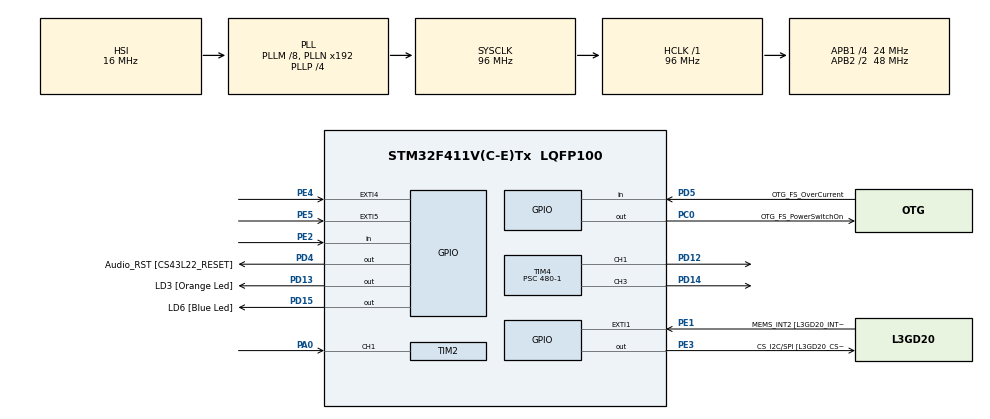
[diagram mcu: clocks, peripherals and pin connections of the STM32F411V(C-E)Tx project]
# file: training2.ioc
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Mcu.Family=STM32F4
Mcu.Name=STM32F411V(C-E)Tx
Mcu.Package=LQFP100
NVIC.PriorityGroup=NVIC_PRIORITYGROUP_0
NVIC.TIM2_IRQn=true\:0\:0\:false\:false\:true\:true\:true\:true
NVIC.TIM4_IRQn=true\:0\:0\:false\:false\:true\:true\:true\:true
PA0-WKUP.Signal=S_TIM2_CH1_ETR
PA10.GPIO_Label=OTG_FS_ID
PA10.Signal=USB_OTG_FS_ID
PA11.GPIO_Label=OTG_FS_DM
PA11.Signal=USB_OTG_FS_DM
PA12.GPIO_Label=OTG_FS_DP
PA12.Signal=USB_OTG_FS_DP
PA13.GPIO_Label=SWDIO
PA13.Signal=SYS_JTMS-SWDIO
PA14.GPIO_Label=SWCLK
PA14.Signal=SYS_JTCK-SWCLK
PA4.GPIO_Label=I2S3_WS [CS43L22_LRCK]
PA4.GPIO_Mode=GPIO_MODE_AF_PP
PA4.GPIO_PuPd=GPIO_NOPULL
PA4.GPIO_Speed=GPIO_SPEED_FREQ_LOW
PA4.Signal=I2S3_WS
PA5.GPIO_Label=SPI1_SCK [L3GD20_SC/SPC]
PA5.Signal=SPI1_SCK
PA6.GPIO_Label=SPI1_MISO [L3GD20_AS0/SDO]
PA6.Signal=SPI1_MISO
PA7.GPIO_Label=SPI1_MOSI [L3GD20_SDA/SDI/SDO]
PA7.Signal=SPI1_MOSI
PA9.GPIO_Label=VBUS_FS
PA9.Signal=USB_OTG_FS_VBUS
PB10.GPIO_Label=CLK_IN [MP45DT02_CLK]
PB10.Signal=I2S2_CK
PB12.Signal=I2S2_WS
PB3.GPIO_Label=SWO
PB3.Signal=SYS_JTDO-SWO
PB6.GPIO_Label=Audio_SCL [CS43L22_SCL]
PB6.GPIO_Mode=GPIO_MODE_AF_OD
PB6.GPIO_PuPd=GPIO_NOPULL
PB6.GPIO_Speed=GPIO_SPEED_FREQ_LOW
PB6.Signal=I2C1_SCL
PB9.GPIO_Label=Audio_SDA [CS43L22_SDA]
PB9.GPIO_Mode=GPIO_MODE_AF_OD
PB9.GPIO_PuPd=GPIO_NOPULL
PB9.GPIO_Speed=GPIO_SPEED_FREQ_LOW
PB9.Signal=I2C1_SDA
PC0.GPIO_Label=OTG_FS_PowerSwitchOn
PC0.PinState=GPIO_PIN_SET
PC0.Signal=GPIO_Output
PC10.GPIO_Label=I2S3_SCK [CS43L22_SCLK]
PC10.GPIO_Mode=GPIO_MODE_AF_PP
PC10.GPIO_PuPd=GPIO_NOPULL
PC10.GPIO_Speed=GPIO_SPEED_FREQ_LOW
PC10.Signal=I2S3_CK
PC12.GPIO_Label=I2S3_SD [CS43L22_SDIN]
PC12.GPIO_Mode=GPIO_MODE_AF_PP
PC12.GPIO_PuPd=GPIO_NOPULL
PC12.GPIO_Speed=GPIO_SPEED_FREQ_LOW
PC12.Signal=I2S3_SD
PC14-OSC32_IN.GPIO_Label=PC14-OSC32_IN
PC14-OSC32_IN.Signal=RCC_OSC32_IN
PC15-OSC32_OUT.GPIO_Label=PC15-OSC32_OUT
PC15-OSC32_OUT.Signal=RCC_OSC32_OUT
PC3.GPIO_Label=PDM_OUT [MP45DT02_DOUT]
PC3.Signal=I2S2_SD
PC7.GPIO_Label=I2S3_MCK [CS43L22_MCLK]
PC7.GPIO_Mode=GPIO_MODE_AF_PP
PC7.GPIO_PuPd=GPIO_NOPULL
PC7.GPIO_Speed=GPIO_SPEED_FREQ_LOW
PC7.Signal=I2S3_MCK
PD12.Signal=S_TIM4_CH1
PD13.GPIO_Label=LD3 [Orange Led]
PD13.GPIO_PuPd=GPIO_NOPULL
PD13.GPIO_Speed=GPIO_SPEED_FREQ_LOW
PD13.Signal=GPIO_Output
PD14.Signal=S_TIM4_CH3
PD15.GPIO_Label=LD6 [Blue Led]
PD15.GPIO_PuPd=GPIO_NOPULL
PD15.GPIO_Speed=GPIO_SPEED_FREQ_LOW
PD15.Signal=GPIO_Output
PD4.GPIO_Label=Audio_RST [CS43L22_RESET]
PD4.Signal=GPIO_Output
PD5.GPIO_Label=OTG_FS_OverCurrent
PD5.Signal=GPIO_Input
PE1.GPIO_Label=MEMS_INT2 [L3GD20_INT2]
PE1.GPIO_ModeDefaultEXTI=GPIO_MODE_EVT_RISING
PE1.Signal=GPXTI1
PE2.Signal=GPIO_Input
PE3.GPIO_Label=CS_I2C/SPI [L3GD20_CS_I2C/SPI]
PE3.Signal=GPIO_Output
PE4.GPIO_ModeDefaultEXTI=GPIO_MODE_EVT_RISING
PE4.Signal=GPXTI4
PE5.GPIO_ModeDefaultEXTI=GPIO_MODE_EVT_RISING
PE5.Signal=GPXTI5
PH0\ -\ OSC_IN.GPIO_Label=PH0-OSC_IN
PH0\ -\ OSC_IN.Signal=RCC_OSC_IN
PH1\ -\ OSC_OUT.GPIO_Label=PH1-OSC_OUT
PH1\ -\ OSC_OUT.Signal=RCC_OSC_OUT
ProjectManager.HeapSize=0x200
ProjectManager.StackSize=0x400
ProjectManager.TargetToolchain=STM32CubeIDE
RCC.48MHZClocksFreq_Value=48000000
RCC.AHBFreq_Value=96000000
RCC.APB1CLKDivider=RCC_HCLK_DIV4
RCC.APB1Freq_Value=24000000
RCC.APB1TimFreq_Value=48000000
RCC.APB2CLKDivider=RCC_HCLK_DIV2
RCC.APB2Freq_Value=48000000
RCC.APB2TimFreq_Value=96000000
RCC.CortexFreq_Value=96000000
RCC.HCLKFreq_Value=96000000
RCC.HSE_VALUE=8000000
RCC.HSI_VALUE=16000000
RCC.LSE_VALUE=32768
RCC.PLLI2SM=5
RCC.PLLI2SN=200
RCC.PLLM=8
RCC.PLLP=RCC_PLLP_DIV4
RCC.PLLQ=8
RCC.SYSCLKFreq_VALUE=96000000
RCC.SYSCLKSource=RCC_SYSCLKSOURCE_PLLCLK
RCC.VCOOutputFreq_Value=384000000
SH.S_TIM2_CH1_ETR.0=TIM2_CH1,Input_Capture1_from_TI1
SH.S_TIM4_CH1.0=TIM4_CH1,Output Compare1 CH1
SH.S_TIM4_CH3.0=TIM4_CH3,PWM Generation3 CH3
TIM2.Channel-Input_Capture1_from_TI1=TIM_CHANNEL_1
TIM2.ICFilter_CH1=15
TIM2.ICPolarity_CH1=TIM_INPUTCHANNELPOLARITY_RISING
TIM2.Period=10000
TIM2.Prescaler=48000-1
TIM4.Channel-Output\ Compare1\ CH1=TIM_CHANNEL_1
TIM4.Channel-PWM\ Generation3\ CH3=TIM_CHANNEL_3
TIM4.OCMode_1=TIM_OCMODE_ACTIVE
TIM4.Period=1000
TIM4.Prescaler=480-1
TIM4.Pulse-Output\ Compare1\ CH1=250
TIM4.Pulse-PWM\ Generation3\ CH3=250
VP_TIM2_VS_ClockSourceINT.Mode=Internal
VP_TIM4_VS_ClockSourceINT.Mode=Internal
board=STM32F411E-DISCO

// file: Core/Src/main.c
/* USER CODE BEGIN Header */
/**
  ******************************************************************************
  * @file           : main.c
  * @brief          : Main program body
  ******************************************************************************
  * @attention
  *		diode brightness control thru semihosting
  * Copyright (c) 2024 STMicroelectronics.
  * All rights reserved.
  *
  * This software is licensed under terms that can be found in the LICENSE file
  * in the root directory of this software component.
  * If no LICENSE file comes with this software, it is provided AS-IS.
  *
  ******************************************************************************
  */
/* USER CODE END Header */
#include "main.h"

/* USER CODE BEGIN Includes */
#include <stdio.h>
/* USER CODE END Includes */

TIM_HandleTypeDef htim2;
TIM_HandleTypeDef htim4;

void SystemClock_Config(void);
static void MX_GPIO_Init(void);
static void MX_TIM2_Init(void);
static void MX_TIM4_Init(void);
/* USER CODE BEGIN PFP */
extern void initialise_monitor_handles(void);
/* USER CODE END PFP */

int main(void)
{

  /* USER CODE BEGIN 1 */
	 initialise_monitor_handles();
	printf("test\n");
  /* USER CODE END 1 */

  /* MCU Configuration--------------------------------------------------------*/

  /* Reset of all peripherals, Initializes the Flash interface and the Systick. */
  HAL_Init();

  /* Configure the system clock */
  SystemClock_Config();

  /* Initialize all configured peripherals */
  MX_GPIO_Init();
  MX_TIM2_Init();
  MX_TIM4_Init();
  /* USER CODE BEGIN 2 */
  	  HAL_TIM_Base_Start_IT(&htim4);
  	  HAL_TIM_OC_Start(&htim4, TIM_CHANNEL_1);
  	  HAL_TIM_PWM_Start_IT(&htim4, TIM_CHANNEL_3);

  /* USER CODE END 2 */

  /* Infinite loop */
  while (1)
  {

  }
}

void SystemClock_Config(void)
{
  RCC_OscInitTypeDef RCC_OscInitStruct = {0};
  RCC_ClkInitTypeDef RCC_ClkInitStruct = {0};

  /** Configure the main internal regulator output voltage
  */
  __HAL_RCC_PWR_CLK_ENABLE();
  __HAL_PWR_VOLTAGESCALING_CONFIG(PWR_REGULATOR_VOLTAGE_SCALE1);

  /** Initializes the RCC Oscillators according to the specified parameters
  * in the RCC_OscInitTypeDef structure.
  */
  RCC_OscInitStruct.OscillatorType = RCC_OSCILLATORTYPE_HSI;
  RCC_OscInitStruct.HSIState = RCC_HSI_ON;
  RCC_OscInitStruct.HSICalibrationValue = RCC_HSICALIBRATION_DEFAULT;
  RCC_OscInitStruct.PLL.PLLState = RCC_PLL_ON;
  RCC_OscInitStruct.PLL.PLLSource = RCC_PLLSOURCE_HSI;
  RCC_OscInitStruct.PLL.PLLM = 8;
  RCC_OscInitStruct.PLL.PLLN = 192;
  RCC_OscInitStruct.PLL.PLLP = RCC_PLLP_DIV4;
  RCC_OscInitStruct.PLL.PLLQ = 8;
  if (HAL_RCC_OscConfig(&RCC_OscInitStruct) != HAL_OK)
  {
    Error_Handler();
  }

  /** Initializes the CPU, AHB and APB buses clocks
  */
  RCC_ClkInitStruct.ClockType = RCC_CLOCKTYPE_HCLK|RCC_CLOCKTYPE_SYSCLK
                              |RCC_CLOCKTYPE_PCLK1|RCC_CLOCKTYPE_PCLK2;
  RCC_ClkInitStruct.SYSCLKSource = RCC_SYSCLKSOURCE_PLLCLK;
  RCC_ClkInitStruct.AHBCLKDivider = RCC_SYSCLK_DIV1;
  RCC_ClkInitStruct.APB1CLKDivider = RCC_HCLK_DIV4;
  RCC_ClkInitStruct.APB2CLKDivider = RCC_HCLK_DIV2;

  if (HAL_RCC_ClockConfig(&RCC_ClkInitStruct, FLASH_LATENCY_3) != HAL_OK)
  {
    Error_Handler();
  }
}

static void MX_TIM2_Init(void)
{

  TIM_ClockConfigTypeDef sClockSourceConfig = {0};
  TIM_MasterConfigTypeDef sMasterConfig = {0};
  TIM_IC_InitTypeDef sConfigIC = {0};

  htim2.Instance = TIM2;
  htim2.Init.Prescaler = 48000-1;
  htim2.Init.CounterMode = TIM_COUNTERMODE_UP;
  htim2.Init.Period = 10000;
  htim2.Init.ClockDivision = TIM_CLOCKDIVISION_DIV1;
  htim2.Init.AutoReloadPreload = TIM_AUTORELOAD_PRELOAD_DISABLE;
  if (HAL_TIM_Base_Init(&htim2) != HAL_OK)
  {
    Error_Handler();
  }
  sClockSourceConfig.ClockSource = TIM_CLOCKSOURCE_INTERNAL;
  if (HAL_TIM_ConfigClockSource(&htim2, &sClockSourceConfig) != HAL_OK)
  {
    Error_Handler();
  }
  if (HAL_TIM_IC_Init(&htim2) != HAL_OK)
  {
    Error_Handler();
  }
  sMasterConfig.MasterOutputTrigger = TIM_TRGO_RESET;
  sMasterConfig.MasterSlaveMode = TIM_MASTERSLAVEMODE_DISABLE;
  if (HAL_TIMEx_MasterConfigSynchronization(&htim2, &sMasterConfig) != HAL_OK)
  {
    Error_Handler();
  }
  sConfigIC.ICPolarity = TIM_INPUTCHANNELPOLARITY_RISING;
  sConfigIC.ICSelection = TIM_ICSELECTION_DIRECTTI;
  sConfigIC.ICPrescaler = TIM_ICPSC_DIV1;
  sConfigIC.ICFilter = 15;
  if (HAL_TIM_IC_ConfigChannel(&htim2, &sConfigIC, TIM_CHANNEL_1) != HAL_OK)
  {
    Error_Handler();
  }

}

static void MX_TIM4_Init(void)
{

  TIM_ClockConfigTypeDef sClockSourceConfig = {0};
  TIM_MasterConfigTypeDef sMasterConfig = {0};
  TIM_OC_InitTypeDef sConfigOC = {0};

  htim4.Instance = TIM4;
  htim4.Init.Prescaler = 480-1;
  htim4.Init.CounterMode = TIM_COUNTERMODE_UP;
  htim4.Init.Period = 1000;
  htim4.Init.ClockDivision = TIM_CLOCKDIVISION_DIV1;
  htim4.Init.AutoReloadPreload = TIM_AUTORELOAD_PRELOAD_DISABLE;
  if (HAL_TIM_Base_Init(&htim4) != HAL_OK)
  {
    Error_Handler();
  }
  sClockSourceConfig.ClockSource = TIM_CLOCKSOURCE_INTERNAL;
  if (HAL_TIM_ConfigClockSource(&htim4, &sClockSourceConfig) != HAL_OK)
  {
    Error_Handler();
  }
  if (HAL_TIM_OC_Init(&htim4) != HAL_OK)
  {
    Error_Handler();
  }
  if (HAL_TIM_PWM_Init(&htim4) != HAL_OK)
  {
    Error_Handler();
  }
  sMasterConfig.MasterOutputTrigger = TIM_TRGO_RESET;
  sMasterConfig.MasterSlaveMode = TIM_MASTERSLAVEMODE_DISABLE;
  if (HAL_TIMEx_MasterConfigSynchronization(&htim4, &sMasterConfig) != HAL_OK)
  {
    Error_Handler();
  }
  sConfigOC.OCMode = TIM_OCMODE_ACTIVE;
  sConfigOC.Pulse = 250;
  sConfigOC.OCPolarity = TIM_OCPOLARITY_HIGH;
  sConfigOC.OCFastMode = TIM_OCFAST_DISABLE;
  if (HAL_TIM_OC_ConfigChannel(&htim4, &sConfigOC, TIM_CHANNEL_1) != HAL_OK)
  {
    Error_Handler();
  }
  sConfigOC.OCMode = TIM_OCMODE_PWM1;
  if (HAL_TIM_PWM_ConfigChannel(&htim4, &sConfigOC, TIM_CHANNEL_3) != HAL_OK)
  {
    Error_Handler();
  }
  HAL_TIM_MspPostInit(&htim4);

}

static void MX_GPIO_Init(void)
{
  GPIO_InitTypeDef GPIO_InitStruct = {0};

  /* GPIO Ports Clock Enable */
  __HAL_RCC_GPIOE_CLK_ENABLE();
  __HAL_RCC_GPIOC_CLK_ENABLE();
  __HAL_RCC_GPIOH_CLK_ENABLE();
  __HAL_RCC_GPIOA_CLK_ENABLE();
  __HAL_RCC_GPIOB_CLK_ENABLE();
  __HAL_RCC_GPIOD_CLK_ENABLE();

  /*Configure GPIO pin Output Level */
  HAL_GPIO_WritePin(CS_I2C_SPI_GPIO_Port, CS_I2C_SPI_Pin, GPIO_PIN_RESET);

  /*Configure GPIO pin Output Level */
  HAL_GPIO_WritePin(OTG_FS_PowerSwitchOn_GPIO_Port, OTG_FS_PowerSwitchOn_Pin, GPIO_PIN_SET);

  /*Configure GPIO pin Output Level */
  HAL_GPIO_WritePin(GPIOD, LD3_Pin|LD6_Pin|Audio_RST_Pin, GPIO_PIN_RESET);

  /*Configure GPIO pin : PE2 */
  GPIO_InitStruct.Pin = GPIO_PIN_2;
  GPIO_InitStruct.Mode = GPIO_MODE_INPUT;
  GPIO_InitStruct.Pull = GPIO_NOPULL;
  HAL_GPIO_Init(GPIOE, &GPIO_InitStruct);

  /*Configure GPIO pin : CS_I2C_SPI_Pin */
  GPIO_InitStruct.Pin = CS_I2C_SPI_Pin;
  GPIO_InitStruct.Mode = GPIO_MODE_OUTPUT_PP;
  GPIO_InitStruct.Pull = GPIO_NOPULL;
  GPIO_InitStruct.Speed = GPIO_SPEED_FREQ_LOW;
  HAL_GPIO_Init(CS_I2C_SPI_GPIO_Port, &GPIO_InitStruct);

  /*Configure GPIO pins : PE4 PE5 MEMS_INT2_Pin */
  GPIO_InitStruct.Pin = GPIO_PIN_4|GPIO_PIN_5|MEMS_INT2_Pin;
  GPIO_InitStruct.Mode = GPIO_MODE_EVT_RISING;
  GPIO_InitStruct.Pull = GPIO_NOPULL;
  HAL_GPIO_Init(GPIOE, &GPIO_InitStruct);

  /*Configure GPIO pin : OTG_FS_PowerSwitchOn_Pin */
  GPIO_InitStruct.Pin = OTG_FS_PowerSwitchOn_Pin;
  GPIO_InitStruct.Mode = GPIO_MODE_OUTPUT_PP;
  GPIO_InitStruct.Pull = GPIO_NOPULL;
  GPIO_InitStruct.Speed = GPIO_SPEED_FREQ_LOW;
  HAL_GPIO_Init(OTG_FS_PowerSwitchOn_GPIO_Port, &GPIO_InitStruct);

  /*Configure GPIO pin : PDM_OUT_Pin */
  GPIO_InitStruct.Pin = PDM_OUT_Pin;
  GPIO_InitStruct.Mode = GPIO_MODE_AF_PP;
  GPIO_InitStruct.Pull = GPIO_NOPULL;
  GPIO_InitStruct.Speed = GPIO_SPEED_FREQ_LOW;
  GPIO_InitStruct.Alternate = GPIO_AF5_SPI2;
  HAL_GPIO_Init(PDM_OUT_GPIO_Port, &GPIO_InitStruct);

  /*Configure GPIO pin : I2S3_WS_Pin */
  GPIO_InitStruct.Pin = I2S3_WS_Pin;
  GPIO_InitStruct.Mode = GPIO_MODE_AF_PP;
  GPIO_InitStruct.Pull = GPIO_NOPULL;
  GPIO_InitStruct.Speed = GPIO_SPEED_FREQ_LOW;
  GPIO_InitStruct.Alternate = GPIO_AF6_SPI3;
  HAL_GPIO_Init(I2S3_WS_GPIO_Port, &GPIO_InitStruct);

  /*Configure GPIO pins : SPI1_SCK_Pin SPI1_MISO_Pin SPI1_MOSI_Pin */
  GPIO_InitStruct.Pin = SPI1_SCK_Pin|SPI1_MISO_Pin|SPI1_MOSI_Pin;
  GPIO_InitStruct.Mode = GPIO_MODE_AF_PP;
  GPIO_InitStruct.Pull = GPIO_NOPULL;
  GPIO_InitStruct.Speed = GPIO_SPEED_FREQ_VERY_HIGH;
  GPIO_InitStruct.Alternate = GPIO_AF5_SPI1;
  HAL_GPIO_Init(GPIOA, &GPIO_InitStruct);

  /*Configure GPIO pins : CLK_IN_Pin PB12 */
  GPIO_InitStruct.Pin = CLK_IN_Pin|GPIO_PIN_12;
  GPIO_InitStruct.Mode = GPIO_MODE_AF_PP;
  GPIO_InitStruct.Pull = GPIO_NOPULL;
  GPIO_InitStruct.Speed = GPIO_SPEED_FREQ_LOW;
  GPIO_InitStruct.Alternate = GPIO_AF5_SPI2;
  HAL_GPIO_Init(GPIOB, &GPIO_InitStruct);

  /*Configure GPIO pins : LD3_Pin LD6_Pin Audio_RST_Pin */
  GPIO_InitStruct.Pin = LD3_Pin|LD6_Pin|Audio_RST_Pin;
  GPIO_InitStruct.Mode = GPIO_MODE_OUTPUT_PP;
  GPIO_InitStruct.Pull = GPIO_NOPULL;
  GPIO_InitStruct.Speed = GPIO_SPEED_FREQ_LOW;
  HAL_GPIO_Init(GPIOD, &GPIO_InitStruct);

  /*Configure GPIO pins : I2S3_MCK_Pin I2S3_SCK_Pin I2S3_SD_Pin */
  GPIO_InitStruct.Pin = I2S3_MCK_Pin|I2S3_SCK_Pin|I2S3_SD_Pin;
  GPIO_InitStruct.Mode = GPIO_MODE_AF_PP;
  GPIO_InitStruct.Pull = GPIO_NOPULL;
  GPIO_InitStruct.Speed = GPIO_SPEED_FREQ_LOW;
  GPIO_InitStruct.Alternate = GPIO_AF6_SPI3;
  HAL_GPIO_Init(GPIOC, &GPIO_InitStruct);

  /*Configure GPIO pin : VBUS_FS_Pin */
  GPIO_InitStruct.Pin = VBUS_FS_Pin;
  GPIO_InitStruct.Mode = GPIO_MODE_INPUT;
  GPIO_InitStruct.Pull = GPIO_NOPULL;
  HAL_GPIO_Init(VBUS_FS_GPIO_Port, &GPIO_InitStruct);

  /*Configure GPIO pins : OTG_FS_ID_Pin OTG_FS_DM_Pin OTG_FS_DP_Pin */
  GPIO_InitStruct.Pin = OTG_FS_ID_Pin|OTG_FS_DM_Pin|OTG_FS_DP_Pin;
  GPIO_InitStruct.Mode = GPIO_MODE_AF_PP;
  GPIO_InitStruct.Pull = GPIO_NOPULL;
  GPIO_InitStruct.Speed = GPIO_SPEED_FREQ_VERY_HIGH;
  GPIO_InitStruct.Alternate = GPIO_AF10_OTG_FS;
  HAL_GPIO_Init(GPIOA, &GPIO_InitStruct);

  /*Configure GPIO pin : OTG_FS_OverCurrent_Pin */
  GPIO_InitStruct.Pin = OTG_FS_OverCurrent_Pin;
  GPIO_InitStruct.Mode = GPIO_MODE_INPUT;
  GPIO_InitStruct.Pull = GPIO_NOPULL;
  HAL_GPIO_Init(OTG_FS_OverCurrent_GPIO_Port, &GPIO_InitStruct);

  /*Configure GPIO pins : Audio_SCL_Pin Audio_SDA_Pin */
  GPIO_InitStruct.Pin = Audio_SCL_Pin|Audio_SDA_Pin;
  GPIO_InitStruct.Mode = GPIO_MODE_AF_OD;
  GPIO_InitStruct.Pull = GPIO_NOPULL;
  GPIO_InitStruct.Speed = GPIO_SPEED_FREQ_LOW;
  GPIO_InitStruct.Alternate = GPIO_AF4_I2C1;
  HAL_GPIO_Init(GPIOB, &GPIO_InitStruct);

}

/* USER CODE BEGIN 4 */
	void HAL_TIM_PeriodElapsedCallback(TIM_HandleTypeDef *htim)
	{
		if(htim = &htim4)
			HAL_GPIO_TogglePin(LD3_GPIO_Port, LD3_Pin);
	}
	uint32_t pulse_val;
	void HAL_TIM_PWM_PulseFinishedCallback(TIM_HandleTypeDef *htim)
	{
	    if(htim == &htim4) // Sprawdzenie, czy to właściwy timer
	    {
	        // Wyłączenie przerwań dla timera 4
	        HAL_TIM_Base_Stop_IT(&htim4);

	        printf("Wprowadź liczbę jasności diody LED od 0 do 1000: \n");
	        scanf("%d", &pulse_val); // Pobranie wartości od użytkownika

	        // Upewnij się, że wartość mieści się w granicach
	        if (pulse_val > 1000)
	        {
	            pulse_val = 1000; // Maksymalna jasność
	        }else if (pulse_val<0)
	        {
	        	pulse_val=0;
	        }

	        // Ustawienie wartości PWM na kanale 3
	        __HAL_TIM_SET_COMPARE(&htim4, TIM_CHANNEL_3, pulse_val);

	        printf("Ustawiona liczba to: %d\n", pulse_val); // Wyświetlenie informacji

	        // Ponowne włączenie przerwań dla timera 4 po wprowadzeniu danych
	        HAL_TIM_Base_Start_IT(&htim4);
	    }
	}
/* USER CODE END 4 */

void Error_Handler(void)
{
  __disable_irq();
  while (1)
  {
  }
}
